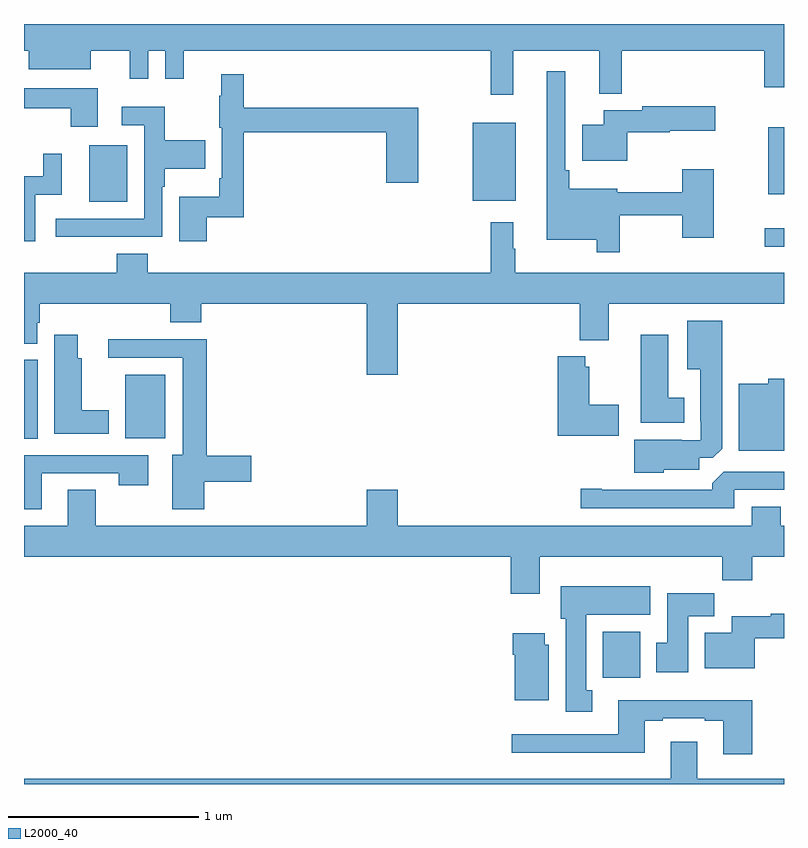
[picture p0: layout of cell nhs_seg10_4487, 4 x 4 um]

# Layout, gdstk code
import gdstk
lib = gdstk.Library(unit=1e-6, precision=1e-09)
def R(c, l, rs):  # rectangles x0, y0, x1, y1
    for r in rs: c.add(gdstk.rectangle(r[:2], r[2:], *l))
def P(c, l, *ps):  # polygons
    for p in ps: c.add(gdstk.Polygon(p, *l))
L2000_40 = (2000, 40)

nhs_seg10_4487 = lib.new_cell('nhs_seg10_4487')
R(nhs_seg10_4487, L2000_40, [(370.046,1253.06,370.243,1253.302), (367,1254.316,367.072,1254.732), (367.532,1254.32,367.744,1254.655), (370.899,1255.328,371,1255.425), (367.343,1255.565,367.543,1255.861), (369.362,1255.571,369.589,1255.981), (370.916,1255.604,371,1255.957)])
P(nhs_seg10_4487, L2000_40, [(369.575,1256.36),(370.028,1256.36),(370.028,1256.132),(370.145,1256.132),(370.145,1256.36),(370.895,1256.36),(370.895,1256.166),(371,1256.166),(371,1256.5),(367,1256.5),(367,1256.36),(367.025,1256.36),(367.025,1256.261),(367.351,1256.261),(367.351,1256.36),(367.556,1256.36),(367.556,1256.211),(367.653,1256.211),(367.653,1256.36),(367.743,1256.36),(367.743,1256.211),(367.841,1256.211),(367.841,1256.36),(369.457,1256.36),(369.457,1256.127),(369.575,1256.127)],
  [(370.135,1255.494),(370.465,1255.494),(370.465,1255.374),(370.63,1255.374),(370.63,1255.735),(370.465,1255.735),(370.465,1255.615),(370.123,1255.615),(370.123,1255.633),(369.869,1255.633),(369.869,1255.729),(369.849,1255.729),(369.849,1256.251),(369.752,1256.251),(369.752,1255.364),(370.014,1255.364),(370.014,1255.299),(370.135,1255.299)],
  [(367.961,1255.482),(368.156,1255.482),(368.156,1255.93),(368.906,1255.93),(368.906,1255.665),(369.076,1255.665),(369.076,1256.059),(368.156,1256.059),(368.156,1256.236),(368.039,1256.236),(368.039,1256.123),(368.028,1256.123),(368.028,1255.953),(368.04,1255.953),(368.04,1255.687),(368.028,1255.687),(368.028,1255.591),(367.817,1255.591),(367.817,1255.356),(367.961,1255.356)],
  [(367.387,1256.161),(367,1256.161),(367,1256.057),(367.247,1256.057),(367.247,1255.959),(367.387,1255.959)],
  [(370.174,1255.93),(370.398,1255.93),(370.398,1255.937),(370.639,1255.937),(370.639,1256.067),(370.254,1256.067),(370.254,1256.047),(370.052,1256.047),(370.052,1255.969),(369.938,1255.969),(369.938,1255.781),(370.174,1255.781)],
  [(367.403,1255.38),(367.728,1255.38),(367.728,1255.643),(367.741,1255.643),(367.741,1255.739),(367.955,1255.739),(367.955,1255.887),(367.741,1255.887),(367.741,1256.065),(367.515,1256.065),(367.515,1255.968),(367.632,1255.968),(367.632,1255.476),(367.167,1255.476),(367.167,1255.379),(367.403,1255.379)],
  [(367.06,1255.602),(367.198,1255.602),(367.198,1255.816),(367.1,1255.816),(367.1,1255.698),(367,1255.698),(367,1255.356),(367.06,1255.356)],
  [(368.968,1255.028),(369.926,1255.028),(369.926,1254.836),(370.078,1254.836),(370.078,1255.028),(371,1255.028),(371,1255.192),(369.586,1255.192),(369.586,1255.316),(369.574,1255.316),(369.574,1255.456),(369.457,1255.456),(369.457,1255.192),(367.652,1255.192),(367.652,1255.291),(367.487,1255.291),(367.487,1255.192),(367,1255.192),(367,1254.817),(367.069,1254.817),(367.069,1254.927),(367.082,1254.927),(367.082,1255.028),(367.769,1255.028),(367.769,1254.929),(367.934,1254.929),(367.934,1255.028),(368.804,1255.028),(368.804,1254.654),(368.968,1254.654)],
  [(370.368,1254.155),(370.555,1254.155),(370.555,1254.216),(370.626,1254.216),(370.675,1254.265),(370.675,1254.937),(370.49,1254.937),(370.49,1254.683),(370.559,1254.683),(370.559,1254.409),(370.563,1254.409),(370.563,1254.309),(370.463,1254.309),(370.463,1254.313),(370.211,1254.313),(370.211,1254.137),(370.368,1254.137)],
  [(367.447,1254.466),(367.303,1254.466),(367.303,1254.741),(367.282,1254.741),(367.282,1254.865),(367.16,1254.865),(367.16,1254.344),(367.447,1254.344)],
  [(370.474,1254.532),(370.39,1254.532),(370.39,1254.865),(370.247,1254.865),(370.247,1254.401),(370.474,1254.401)],
  [(367.948,1254.092),(368.197,1254.092),(368.197,1254.227),(367.961,1254.227),(367.961,1254.842),(367.443,1254.842),(367.443,1254.744),(367.835,1254.744),(367.835,1254.232),(367.781,1254.232),(367.781,1253.946),(367.948,1253.946)],
  [(370.129,1254.495),(369.976,1254.495),(369.976,1254.697),(369.954,1254.697),(369.954,1254.751),(369.809,1254.751),(369.809,1254.332),(370.129,1254.332)],
  [(371,1254.634),(370.917,1254.634),(370.917,1254.607),(370.763,1254.607),(370.763,1254.254),(371,1254.254)],
  [(367.093,1254.135),(367.498,1254.135),(367.498,1254.072),(367.654,1254.072),(367.654,1254.231),(367,1254.231),(367,1253.946),(367.093,1253.946)],
  [(370.737,1254.048),(371,1254.048),(371,1254.144),(370.683,1254.144),(370.622,1254.082),(370.622,1254.048),(370.042,1254.048),(370.042,1254.053),(369.93,1254.053),(369.93,1253.952),(370.737,1253.952)],
  [(368.968,1254.049),(368.804,1254.049),(368.804,1253.86),(367.377,1253.86),(367.377,1254.05),(367.229,1254.05),(367.229,1253.86),(367,1253.86),(367,1253.696),(369.563,1253.696),(369.563,1253.502),(369.715,1253.502),(369.715,1253.696),(370.675,1253.696),(370.675,1253.572),(370.832,1253.572),(370.832,1253.696),(371,1253.696),(371,1253.86),(370.982,1253.86),(370.982,1253.959),(370.829,1253.959),(370.829,1253.86),(368.968,1253.86)],
  [(369.991,1252.994),(369.958,1252.994),(369.958,1253.39),(370.297,1253.39),(370.297,1253.542),(369.824,1253.542),(369.824,1253.37),(369.851,1253.37),(369.851,1252.881),(369.991,1252.881)],
  [(370.495,1253.384),(370.634,1253.384),(370.634,1253.503),(370.385,1253.503),(370.385,1253.244),(370.328,1253.244),(370.328,1253.088),(370.495,1253.088)],
  [(370.847,1253.266),(371,1253.266),(371,1253.395),(370.93,1253.395),(370.93,1253.384),(370.724,1253.384),(370.724,1253.296),(370.583,1253.296),(370.583,1253.108),(370.847,1253.108)],
  [(369.763,1253.232),(369.742,1253.232),(369.742,1253.293),(369.572,1253.293),(369.572,1253.18),(369.584,1253.18),(369.584,1252.94),(369.763,1252.94)],
  [(370.832,1252.942),(370.127,1252.942),(370.127,1252.761),(369.567,1252.761),(369.567,1252.664),(370.267,1252.664),(370.267,1252.833),(370.363,1252.833),(370.363,1252.845),(370.583,1252.845),(370.583,1252.833),(370.679,1252.833),(370.679,1252.656),(370.832,1252.656)],
  [(371,1252.528),(370.543,1252.528),(370.543,1252.723),(370.403,1252.723),(370.403,1252.528),(367,1252.528),(367,1252.5),(371,1252.5)])

lib.write_gds('nhs_seg10_4487.gds')
